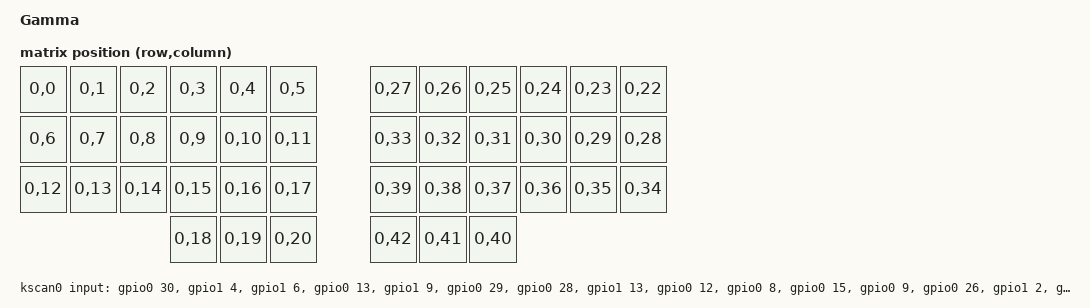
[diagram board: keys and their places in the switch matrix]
/*
*
* Copyright (c) 2021 Darryl deHaan
* SPDX-License-Identifier: MIT
*
*/

/dts-v1/;
#include <nordic/nrf52840_qiaa.dtsi>
#include <dt-bindings/zmk/matrix_transform.h>
#include <dt-bindings/led/led.h>

/ {
    model = "Gamma";
    compatible = "gamma";

    aliases {
        led-strip = &led_strip;
    };

    chosen {
        zmk,kscan = &kscan0;
        zmk,battery = &vbatt;
        zmk,matrix-transform = &default_transform;
        zephyr,code-partition = &code_partition;
        zephyr,sram = &sram0;
        zephyr,flash = &flash0;
        zephyr,console = &cdc_acm_uart;
    };

    vbatt: vbatt {
        compatible = "zmk,battery-nrf-vddh";
    };

    kscan0: kscan {
        compatible = "zmk,kscan-gpio-direct";
        label = "KSCAN";

        input-gpios
            = <&gpio0 30 (GPIO_ACTIVE_LOW | GPIO_PULL_UP)>
            , <&gpio1 4 (GPIO_ACTIVE_LOW | GPIO_PULL_UP)>
            , <&gpio1 6 (GPIO_ACTIVE_LOW | GPIO_PULL_UP)>
            , <&gpio0 13 (GPIO_ACTIVE_LOW | GPIO_PULL_UP)>
            , <&gpio1 9 (GPIO_ACTIVE_LOW | GPIO_PULL_UP)>
            , <&gpio0 29 (GPIO_ACTIVE_LOW | GPIO_PULL_UP)>
            , <&gpio0 28 (GPIO_ACTIVE_LOW | GPIO_PULL_UP)>
            , <&gpio1 13 (GPIO_ACTIVE_LOW | GPIO_PULL_UP)>
            , <&gpio0 12 (GPIO_ACTIVE_LOW | GPIO_PULL_UP)>
            , <&gpio0 8 (GPIO_ACTIVE_LOW | GPIO_PULL_UP)>
            , <&gpio0 15 (GPIO_ACTIVE_LOW | GPIO_PULL_UP)>
            , <&gpio0 9 (GPIO_ACTIVE_LOW | GPIO_PULL_UP)>
            , <&gpio0 26 (GPIO_ACTIVE_LOW | GPIO_PULL_UP)>
            , <&gpio1 2 (GPIO_ACTIVE_LOW | GPIO_PULL_UP)>
            , <&gpio0 31 (GPIO_ACTIVE_LOW | GPIO_PULL_UP)>
            , <&gpio0 17 (GPIO_ACTIVE_LOW | GPIO_PULL_UP)>
            , <&gpio0 2 (GPIO_ACTIVE_LOW | GPIO_PULL_UP)>
            , <&gpio0 10 (GPIO_ACTIVE_LOW | GPIO_PULL_UP)>
            , <&gpio0 3 (GPIO_ACTIVE_LOW | GPIO_PULL_UP)>
            , <&gpio1 10 (GPIO_ACTIVE_LOW | GPIO_PULL_UP)>
            , <&gpio1 11 (GPIO_ACTIVE_LOW | GPIO_PULL_UP)>
            ;
    };

    gamma_gpios {
        compatible = "gpio-leds";

        chrg_status: chrg_status {
            gpios = <&gpio0 20 (GPIO_ACTIVE_LOW | GPIO_PULL_UP)>;
        };
        led_enable: led_enable {
            gpios = <&gpio0 6 (GPIO_ACTIVE_HIGH | GPIO_PULL_DOWN)>;
        };
    };

    default_transform: keymap_transform_0 {
            compatible = "zmk,matrix-transform";
            columns = <44>;
            rows = <1>;
                        map = <
            RC(0,0)  RC(0,1)  RC(0,2)  RC(0,3)  RC(0,4)  RC(0,5)  RC(0,27) RC(0,26) RC(0,25) RC(0,24) RC(0,23) RC(0,22)
            RC(0,6)  RC(0,7)  RC(0,8)  RC(0,9)  RC(0,10) RC(0,11) RC(0,33) RC(0,32) RC(0,31) RC(0,30) RC(0,29) RC(0,28)
            RC(0,12) RC(0,13) RC(0,14) RC(0,15) RC(0,16) RC(0,17) RC(0,39) RC(0,38) RC(0,37) RC(0,36) RC(0,35) RC(0,34)
                                           RC(0,18) RC(0,19) RC(0,20) RC(0,42) RC(0,41) RC(0,40)
            >;
        };
};

&i2c0 {
    status = "okay";
    clock-frequency = <I2C_BITRATE_FAST>;
    pinctrl-0 = <&i2c0_default>;
    pinctrl-1 = <&i2c0_sleep>;
    pinctrl-names = "default", "sleep";
};

&adc {
    status = "okay";
};

&gpiote {
    status = "okay";
};

&gpio0 {
    status = "okay";
};

&gpio1 {
    status = "okay";
};

&usbd {
    status = "okay";
    cdc_acm_uart: cdc_acm_uart {
        compatible = "zephyr,cdc-acm-uart";
    };
};

&pinctrl {
    /* I2C0 default (active) configuration */
    i2c0_default: i2c0_default {
        group1 {
            psels = <NRF_PSEL(TWIM_SDA, 0, 4)>,
                    <NRF_PSEL(TWIM_SCL, 0, 5)>;
            bias-pull-up;
        };
    };

    /* I2C0 sleep (low-power) configuration */
    i2c0_sleep: i2c0_sleep {
        group1 {
            psels = <NRF_PSEL(TWIM_SDA, 0, 4)>,
                    <NRF_PSEL(TWIM_SCL, 0, 5)>;
            low-power-enable;
            bias-pull-up;
        };
    };

    spi3_default: spi3_default {
        group1 {
            psels = <NRF_PSEL(SPIM_MOSI, 0, 24)>;
        };
    };

    spi3_sleep: spi3_sleep {
        group1 {
            psels = <NRF_PSEL(SPIM_MOSI, 0, 24)>;
            low-power-enable;
        };
    };
};

&spi3 {
  compatible = "nordic,nrf-spim";
  status = "okay";

  pinctrl-0 = <&spi3_default>;
  pinctrl-1 = <&spi3_sleep>;
  pinctrl-names = "default", "sleep";

  led_strip: ws2812@0 {
    compatible = "worldsemi,ws2812-spi";

    /* SPI */
    reg = <0>; /* ignored, but necessary for SPI bindings */
    spi-max-frequency = <4000000>;

    /* WS2812 */
    chain-length = <11>; /* number of LEDs */
    spi-one-frame = <0x70>;
    spi-zero-frame = <0x40>;
    color-mapping = <LED_COLOR_ID_GREEN
                          LED_COLOR_ID_RED
                          LED_COLOR_ID_BLUE>;
  };
};

&flash0 {
    /*
     * For more information, see:
     * http://docs.zephyrproject.org/latest/devices/dts/flash_partitions.html
     */
    partitions {
        compatible = "fixed-partitions";
        #address-cells = <1>;
        #size-cells = <1>;

        sd_partition: partition@0 {
            reg = <0x00000000 0x00026000>;
        };
        code_partition: partition@26000 {
            reg = <0x00026000 0x000c6000>;
        };

        /*
         * The flash starting at 0x000ec000 and ending at
         * 0x000f3fff is reserved for use by the application.
         */

        /*
         * Storage partition will be used by FCB/LittleFS/NVS
         * if enabled.
         */
        storage_partition: partition@ec000 {
            reg = <0x000ec000 0x00008000>;
        };

        boot_partition: partition@f4000 {
            reg = <0x000f4000 0x0000c000>;
        };
    };
};


